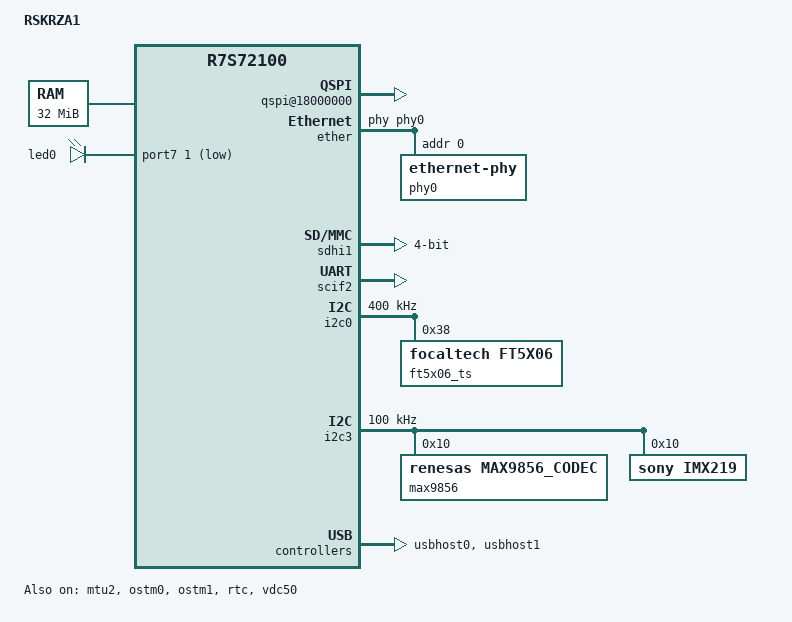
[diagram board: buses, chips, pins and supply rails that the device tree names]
/*
 * Device Tree Source for the RZ/A1H RSK board
 *
 * Copyright (C) 2016 Renesas Electronics
 *
 * This file is licensed under the terms of the GNU General Public License
 * version 2.  This program is licensed "as is" without any warranty of any
 * kind, whether express or implied.
 */

/dts-v1/;
#include "r7s72100.dtsi"
#include <dt-bindings/gpio/gpio.h>
#include <dt-bindings/pinctrl/r7s72100-pinctrl.h>

/ {
	model = "RSKRZA1";
	compatible = "renesas,rskrza1", "renesas,r7s72100";

	aliases {
		serial0 = &scif2;
	};

	chosen {
		bootargs = "ignore_loglevel earlyprintk earlycon=scif,0xE8008000 root=/dev/mtdblock0                                              ";
		stdout-path = "serial0:115200n8";
	};

	memory@8000000 {
		device_type = "memory";
		reg = <0x08000000 0x02000000>;
	};

	lbsc {
		#address-cells = <1>;
		#size-cells = <1>;
	};

	leds {
		status = "okay";
		compatible = "gpio-leds";

		led0 {
			gpios = <&port7 1 GPIO_ACTIVE_LOW>;
		};
	};

	/* File System */
	/* Remember, we'll be in dual QSPI XIP mode at this point */
	/* Requires CONFIG_MTD_ROM=y */
	qspi@18000000 {
		compatible = "mtd-rom";
		probe-type = "map_rom";
		reg = <0x18000000 0x4000000>;	/* 64 MB*/
		bank-width = <4>;
		device-width = <1>;

		#address-cells = <1>;
		#size-cells = <1>;

		partition@800000 {
			label ="user";
			reg = <0x0800000 0x800000>; /* 8MB @ 0x18800000 */
			read-only;
		};
	};

};

&extal_clk {
	clock-frequency = <13330000>;
};

&usb_x1_clk {
	clock-frequency = <48000000>;
};

&rtc_x1_clk {
	clock-frequency = <32768>;
};

&pinctrl {

	/* Serial Console */
	scif2_pins: serial2 {
		pinmux = <RZA1_PINMUX(3, 0, 6)>,	/* TxD2 */
			 <RZA1_PINMUX(3, 2, 4)>;	/* RxD2 */
	};

	/* Ethernet */
	ether_pins: ether {
		/* Ethernet on Ports 1,2,3,5 */
		pinmux = <RZA1_PINMUX(1, 14, 4)>,	/* ET_COL   */
			 <RZA1_PINMUX(5, 9, 2)>,	/* ET_MDC   */
			 <RZA1_PINMUX(3, 3, 2)>,	/* ET_MDIO  */
			 <RZA1_PINMUX(3, 4, 2)>,	/* ET_RXCLK */
			 <RZA1_PINMUX(3, 5, 2)>,	/* ET_RXER  */
			 <RZA1_PINMUX(3, 6, 2)>,	/* ET_RXDV  */
			 <RZA1_PINMUX(2, 0, 2)>,	/* ET_TXCLK */
			 <RZA1_PINMUX(2, 1, 2)>,	/* ET_TXER  */
			 <RZA1_PINMUX(2, 2, 2)>,	/* ET_TXEN  */
			 <RZA1_PINMUX(2, 3, 2)>,	/* ET_CRS   */
			 <RZA1_PINMUX(2, 4, 2)>,	/* ET_TXD0  */
			 <RZA1_PINMUX(2, 5, 2)>,	/* ET_TXD1  */
			 <RZA1_PINMUX(2, 6, 2)>,	/* ET_TXD2  */
			 <RZA1_PINMUX(2, 7, 2)>,	/* ET_TXD3  */
			 <RZA1_PINMUX(2, 8, 2)>,	/* ET_RXD0  */
			 <RZA1_PINMUX(2, 9, 2)>,	/* ET_RXD1  */
			 <RZA1_PINMUX(2, 10, 2)>,	/* ET_RXD2  */
			 <RZA1_PINMUX(2, 11, 2)>;	/* ET_RXD3  */
	};

	/* SDHI ch1 on CN1 */
	sdhi1_pins: sdhi1 {
		pinmux = <RZA1_PINMUX(3, 8, 7)>,	/* SD_CD_1 */
			 <RZA1_PINMUX(3, 9, 7)>,	/* SD_WP_1 */
			 <RZA1_PINMUX(3, 10, 7)>,	/* SD_D1_1 */
			 <RZA1_PINMUX(3, 11, 7)>,	/* SD_D0_1 */
			 <RZA1_PINMUX(3, 12, 7)>,	/* SD_CLK_1 */
			 <RZA1_PINMUX(3, 13, 7)>,	/* SD_CMD_1 */
			 <RZA1_PINMUX(3, 14, 7)>,	/* SD_D3_1 */
			 <RZA1_PINMUX(3, 15, 7)>;	/* SD_D2_1 */
	};

	/* RIIC ch0 (Touchscreen) */
	i2c0_pins: i2c0 {
		pinmux = <RZA1_PINMUX(1, 0, 1)>,	/* RIIC0SCL */
			 <RZA1_PINMUX(1, 1, 1)>;	/* RIIC0SDA */
	};

	/* IRQ1 (Touchscreen) */
	irq1_pins: irq1 {
		pinmux = <RZA1_PINMUX(4, 9, 8)>;	/* IRQ1 */
	};

	/* RIIC ch3 (Port Expander, EEPROM (MAC Addr), Audio Codec) */
	i2c3_pins: i2c3 {
		pinmux = <RZA1_PINMUX(1, 6, 1)>,	/* RIIC3SCL */
			 <RZA1_PINMUX(1, 7, 1)>;	/* RIIC3SDA */
	};

	/* VDC5 LCD ch 0 */
	vdc50_pins: vdc50 {

		pinmux =
			/* LCD0_DATA0 to LCD0_DATA7 is P11_0 to P11_7 */
			<RZA1_PINMUX(11, 0,  5)>,	/* LCD0_DATA0 */
			<RZA1_PINMUX(11, 1,  5)>,	/* LCD0_DATA1 */
			<RZA1_PINMUX(11, 2,  5)>,	/* LCD0_DATA2 */
			<RZA1_PINMUX(11, 3,  5)>,	/* LCD0_DATA3 */
			<RZA1_PINMUX(11, 4,  5)>,	/* LCD0_DATA4 */
			<RZA1_PINMUX(11, 5,  5)>,	/* LCD0_DATA5 */
			<RZA1_PINMUX(11, 6,  5)>,	/* LCD0_DATA6 */
			<RZA1_PINMUX(11, 7,  5)>,	/* LCD0_DATA7 */

			/* LCD0_DATA8 to LCD0_DATA23 is all of P10_0 to P10_15 */
			<RZA1_PINMUX(10, 0,  5)>,	/* LCD0_DATA8 */
			<RZA1_PINMUX(10, 1,  5)>,	/* LCD0_DATA9 */
			<RZA1_PINMUX(10, 2,  5)>,	/* LCD0_DATA10 */
			<RZA1_PINMUX(10, 3,  5)>,	/* LCD0_DATA11 */
			<RZA1_PINMUX(10, 4,  5)>,	/* LCD0_DATA12 */
			<RZA1_PINMUX(10, 5,  5)>,	/* LCD0_DATA13 */
			<RZA1_PINMUX(10, 6,  5)>,	/* LCD0_DATA14 */
			<RZA1_PINMUX(10, 7,  5)>,	/* LCD0_DATA15 */
			<RZA1_PINMUX(10, 8,  5)>,	/* LCD0_DATA16 */
			<RZA1_PINMUX(10, 9,  5)>,	/* LCD0_DATA17 */
			<RZA1_PINMUX(10, 10, 5)>,	/* LCD0_DATA18 */
			<RZA1_PINMUX(10, 11, 5)>,	/* LCD0_DATA19 */
			<RZA1_PINMUX(10, 12, 5)>,	/* LCD0_DATA20 */
			<RZA1_PINMUX(10, 13, 5)>,	/* LCD0_DATA21 */
			<RZA1_PINMUX(10, 14, 5)>,	/* LCD0_DATA22 */
			<RZA1_PINMUX(10, 15, 5)>,	/* LCD0_DATA23 */


			/* TCON pins (some may not be used) */
			//<RZA1_PINMUX(11,14, 5)>,	/* LCD0_TCON0 */
			//<RZA1_PINMUX(11,13, 5)>,	/* LCD0_TCON1 */
			<RZA1_PINMUX(11,12, 5)>,	/* LCD0_TCON2 */
			<RZA1_PINMUX(11,11, 5)>,	/* LCD0_TCON3 */
			<RZA1_PINMUX(11,10, 5)>,	/* LCD0_TCON4 */
			//<RZA1_PINMUX(11,9,  5)>,	/* LCD0_TCON5 */
			//<RZA1_PINMUX(11,8,  5)>,	/* LCD0_TCON6 */

			<RZA1_PINMUX(11, 15, 5)>;	/* LCD0_CLK */
	};
};

&mtu2 {
	status = "okay";
};

&ether {
	pinctrl-names = "default";
	pinctrl-0 = <&ether_pins>;
	status = "okay";
	renesas,no-ether-link;
	phy-handle = <&phy0>;
	phy0: ethernet-phy@0 {
		reg = <0>;
	};
};
&dma0  {
			/*slave id for another device*/
	slave_id=<	RZA1DMA_SLAVE_SDHI0_TX
			RZA1DMA_SLAVE_SDHI0_RX
			RZA1DMA_SLAVE_SDHI1_TX
			RZA1DMA_SLAVE_SDHI1_RX
			RZA1DMA_SLAVE_MMCIF_TX
			RZA1DMA_SLAVE_MMCIF_RX
			RZA1DMA_SLAVE_PCM_MEM_SSI0
			RZA1DMA_SLAVE_PCM_MEM_SRC1
			RZA1DMA_SLAVE_PCM_SSI0_MEM
			RZA1DMA_SLAVE_PCM_SRC0_MEM>;
		/* address of slave device*/
	addr=<	0xe804e030 /*first for SDHI0_TX*/
		0xe804e030
		0xe804e830
		0xe804e830
		0xe804c834
		0xe804c834
		0xe820b018
		0xe820970c
		0xe820b01c
		0xe8209718>;
		/*channel config (chcfg) for slave device, first for SDHI0_TX*/
	chcfg=<	0x1 0x0 0x1 0x1 0x1 0x2 0x2 0x0 /*.reqd .loen .hien .lvl .am .sds .dds .tm*/
		0x0 0x0 0x1 0x1 0x1 0x2 0x2 0x0
		0x1 0x0 0x1 0x1 0x1 0x2 0x2 0x0
		0x0 0x0 0x1 0x1 0x1 0x2 0x2 0x0
		0x1 0x0 0x1 0x1 0x1 0x2 0x2 0x0
		0x0 0x0 0x1 0x1 0x1 0x2 0x2 0x0
		0x1 0x0 0x1 0x1 0x1 0x2 0x2 0x0
		0x1 0x0 0x1 0x1 0x1 0x1 0x1 0x0
		0x0 0x0 0x1 0x1 0x1 0x2 0x2 0x0
		0x0 0x0 0x1 0x1 0x1 0x1 0x1 0x0>;

		/*dmas for slave device, first for SDHI0_TX*/
	dmars=<	0x1 0x30	/*.rid .mid*/
		0x2 0x30
		0x1 0x31
		0x2 0x31
		0x1 0x32
		0x2 0x32
		0x1 0x38
		0x1 0x41
		0x2 0x38
		0x2 0x40>;

};
&sdhi1 {
	pinctrl-names = "default";
	pinctrl-0 = <&sdhi1_pins>;
	bus-width = <4>;
	status = "okay";

	dmas = <&dma0 RZA1DMA_SLAVE_SDHI1_TX>, <&dma0 RZA1DMA_SLAVE_SDHI1_RX>;
	dma-names = "tx", "rx";
};

&ostm0 {
	status = "okay";
};

&ostm1 {
	status = "okay";
};

&rtc {
	status = "okay";
};

&scif2 {
	pinctrl-names = "default";
	pinctrl-0 = <&scif2_pins>;
	status = "okay";
};

/* RIIC0 (Touchscreen) */
&i2c0 {
	pinctrl-names = "default";
	pinctrl-0 = <&i2c0_pins>;
	status = "okay";
	clock-frequency = <400000>;

	ft5x06_ts@38 {
		compatible = "focaltech,ft5x06";
		reg = <0x38>;

		pinctrl-names = "default";
		pinctrl-0 = <&irq1_pins>;
		interrupts = <GIC_SPI (33-32) IRQ_TYPE_LEVEL_LOW>; /* IRQ1 */

		touchscreen-size-x = <800>;
		touchscreen-size-y = <480>;

		/* The touchscreen on the RSK LCD is backwards for some reason */
		touchscreen-inverted-x;
		touchscreen-inverted-y;
	};
};

/* RIIC3: Port Expander, EEPROM (MAC Addr), Audio Codec */
&i2c3 {
	pinctrl-names = "default";
	pinctrl-0 = <&i2c3_pins>;
	status = "okay";
	clock-frequency = <100000>;

	max9856: codec@10 {
		compatible = "renesas,max9856_codec";
		#sound-dai-cells = <0>;
		reg = <0x10>;
	};
	imx219: cam@10 {
		compatible = "sony,imx219";
		reg = <0x10>;
	};
};

&usbhost0 {
	status = "okay";
	xtal-48mhz;
};

&usbhost1 {
	/* NOTE: You MUST enable USB ch0 (host or device) first because
	   there are some shared registers bits in USB0 that USB1 needs. */
	status = "okay";
	xtal-48mhz;
};

/* RSK LCD: 800x600 LCD */
/* Pacer TFT LCD Panel, Model gwp0700cnwv04 */
#if XIP_KERNEL_WITHOUT_EXTERNAL_RAM
  #define VDC5_0_BPP 16 /* 16bpp or 32bpp */
  #define VDC5_0_FBSIZE (800*480*VDC5_0_BPP/8)
  #define VDC5_0_FB_ADDR 0	/* allocate memory at probe */
#else
  #define VDC5_0_BPP 32 /* 16bpp or 32bpp */
  #define VDC5_0_FBSIZE (800*480*VDC5_0_BPP/8)
  #define VDC5_0_FB_ADDR (0x60000000) /* fixed address in PAGE 0 */
#endif

&vdc50 {
	pinctrl-names = "default";
	pinctrl-0 = <&vdc50_pins>;

	display = <&display0>;
	status = "okay";

	/* Set the physical frame buffer address for internal RAM. */
	fb_phys_addr = <VDC5_0_FB_ADDR>;
	fb_phys_size = <VDC5_0_FBSIZE>;

	panel_name = "gwp0700cnwv04";
	panel_pixel_xres = <800>;	/* panel native resolution */
	panel_pixel_yres = <480>;	/* panel native resolution */


	/* See 'drivers/video/fbdev/renesas/vdc5fb.h' for valid choices
	* for panel_icksel, panel_ocksel, and out_format */
	panel_icksel = <3>;	/* 3=ICKSEL_P1CLK (Peripheral clock 1) */
	panel_ocksel = <0>;	/* (don't care when lvds=0 ) */
	out_format = <0>;	/* 0=OUT_FORMAT_RGB888 */
	use_lvds = <0>;		/* Set to 0 or 1 */

	/* How are the TCON pins going to be used */
	tcon_sel = <
		0xff	/* TCON0: 0xff=TCON_SEL_UNUSED */
		0xff	/* TCON1: 0xff=TCON_SEL_UNUSED */
		7	/* TCON2:    7=TCON_SEL_DE (DATA ENABLE) */
		2	/* TCON3:    2=TCON_SEL_STH (HSYNC) */
		0	/* TCON4:    0=TCON_SEL_STVA (VSYNC) */
		0xff	/* TCON5: 0xff=TCON_SEL_UNUSED */
		0xff	/* TCON6: 0xff=TCON_SEL_UNUSED */
		>;

	display0: display0 {
		bits-per-pixel = <VDC5_0_BPP>;
		bus-width = <24>;

		display-timings {
			native-mode = <&timing0>;
			timing0: timing0 {
				clock-frequency = <33325000>; /* P1 clk / 2 */
				hactive = <800>;
				vactive = <480>;
				hback-porch = <46>;
				hfront-porch = <210>;
				vback-porch = <23>;
				vfront-porch = <22>;
				hsync-len = <40>; /* max */
				vsync-len = <20>; /* max */
				hsync-active = <1>; /* HIGH */
				vsync-active = <1>; /* HIGH */
				de-active = <0>; /* LOW */
				pixelclk-active = <0>; /* ??? */
			};
		};
	};
};

/* Audio in/out */
/* requires
 * CONFIG_SOUND=y
 * CONFIG_SND=y
 * CONFIG_SND_SOC=y
 * CONFIG_SND_SCUX_RSKRZA1=y
 * CONFIG_RZA_DMA=y
 */
/ {
	sound_machine: sound@0 {
		compatible = "renesas,rskrza1_sound_alsa";
	};

	sound: scux-pcm-audio@e8208000 {
		compatible = "renesas,rskrza1_scux";
		reg = <0xe8208000 0x00001778>,
		      <0xe820b000 0x00002830>;
		channel = <0>;
	};
};
